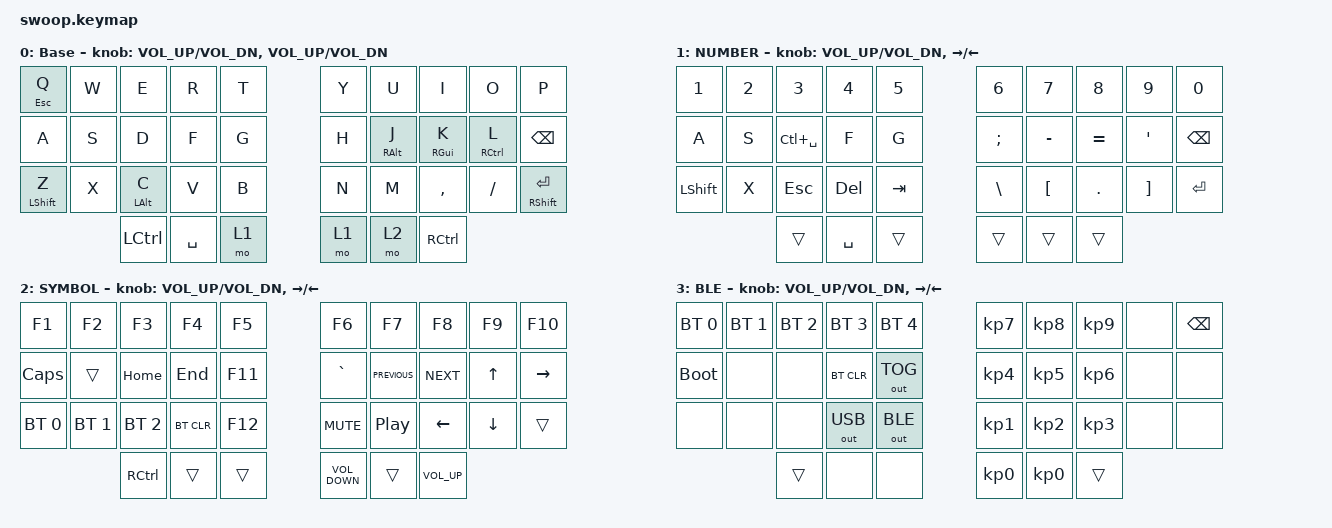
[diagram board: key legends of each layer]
/*
 * Copyright (c) 2020 duckyb
 *
 * SPDX-License-Identifier: MIT
 */

#include <behaviors.dtsi>
#include <dt-bindings/zmk/bt.h>
#include <dt-bindings/zmk/keys.h>
#include <dt-bindings/zmk/outputs.h>

/ {
    behaviors {
        tab_esc_ctrl: tab_esc_ctrl {
            compatible = "zmk,behavior-tap-dance";
            label = "TAB_ESC_CTRL";
            #binding-cells = <0>;
            bindings =
                <&mt LCTRL ESC>,
                <&kp TAB>;
        };
        gqt: global-quick-tap {
            compatible = "zmk,behavior-hold-tap";
            label = "GLOBAL_QUICK_TAP";
            bindings =
                <&kp>,
                <&kp>;

            #binding-cells = <2>;
            quick-tap-ms = <180>;
            tapping-term-ms = <200>;
            global-quick-tap;
            flavor = "tap-preferred";
        };
        ltq: ltq {
            compatible = "zmk,behavior-hold-tap";
            label = "LTQ";
            bindings =
                <&mo>,
                <&kp>;

            #binding-cells = <2>;
            global-quick-tap;
            tapping-term-ms = <200>;
            quick-tap-ms = <180>;
        };
        ht: ht {
            compatible = "zmk,behavior-hold-tap";
            label = "HT";
            bindings =
                <&kp>,
                <&kp>;

            #binding-cells = <2>;
            tapping-term-ms = <200>;
            quick-tap-ms = <100>;
            global-quick-tap;
            flavor = "tap-preferred";
        };
    };

    combos {
        compatible = "zmk,combos";

        left_bkt {
            bindings = <&kp LBKT>;
            key-positions = <3 2>;
            timeout-ms = <50>;
        };

        right_bkt {
            bindings = <&kp RBKT>;
            key-positions = <6 7>;
            timeout-ms = <50>;
        };

        left_par {
            bindings = <&kp LEFT_PARENTHESIS>;
            key-positions = <12 13>;
            timeout-ms = <50>;
        };

        right_par {
            bindings = <&kp RIGHT_PARENTHESIS>;
            key-positions = <16 17>;
            timeout-ms = <50>;
        };

        left_brace {
            bindings = <&kp LEFT_BRACE>;
            key-positions = <23 22>;
            timeout-ms = <50>;
        };

        right_brace {
            bindings = <&kp RIGHT_BRACE>;
            key-positions = <26 27>;
            timeout-ms = <50>;
        };

        bac {
            bindings = <&kp BACKSLASH>;
            key-positions = <4 5>;
        };

        pipe {
            bindings = <&kp PIPE>;
            key-positions = <14 15>;
        };

        shift_minus {
            bindings = <&kp UNDERSCORE>;
            key-positions = <15 17>;
        };

        less_than {
            bindings = <&kp LESS_THAN>;
            key-positions = <25 27>;
        };

        greater_than {
            bindings = <&kp GREATER_THAN>;
            key-positions = <25 28>;
        };

        tab {
            bindings = <&kp TAB>;
            key-positions = <12 10 11>;
        };

        plus {
            bindings = <&kp PLUS>;
            key-positions = <15 18>;
        };

        tilde {
            bindings = <&kp TILDE>;
            key-positions = <5 6>;
        };

        grave {
            bindings = <&kp GRAVE>;
            key-positions = <3 4>;
        };

        colon {
            bindings = <&kp COLON>;
            key-positions = <6 7 8>;
        };

        semi {
            bindings = <&kp SEMICOLON>;
            key-positions = <16 17 18>;
        };

        qort {
            bindings = <&kp SQT>;
            key-positions = <17 18>;
        };

        d_qourt {
            bindings = <&kp DOUBLE_QUOTES>;
            key-positions = <26 17 18>;
        };
    };

    macros {
    };

    keymap {
        compatible = "zmk,keymap";

        base {
            label = "Base";
            bindings = <
&ht ESC Q    &kp W  &kp E             &kp R      &kp T    &kp Y  &kp U            &kp I              &kp O        &kp P
&kp A        &kp S  &kp D             &kp F      &kp G    &kp H  &ht RIGHT_ALT J  &ht RIGHT_GUI K    &ht RCTRL L  &kp BSPC
&ht LSHFT Z  &kp X  &ht LEFT_ALT C    &kp V      &kp B    &kp N  &kp M            &kp COMMA          &kp SLASH    &ht RSHFT ENTER
                    &kp LEFT_CONTROL  &kp SPACE  &mo 1    &mo 1  &mo 2            &kp RIGHT_CONTROL
            >;

            sensor-bindings =
                <&inc_dec_kp C_VOL_UP C_VOL_DN>,
                <&inc_dec_kp C_VOLUME_UP C_VOL_DN>;
        };

        number {
            label = "NUMBER";
            bindings = <
&kp N1     &kp N2  &kp N3         &kp N4     &kp N5     &kp N6         &kp N7            &kp N8     &kp N9             &kp N0
&kp A      &kp S   &kp LC(SPACE)  &kp F      &kp G      &kp SEMICOLON  &kp MINUS         &kp EQUAL  &kp SQT            &kp BSPC
&kp LSHFT  &kp X   &kp ESC        &kp DEL    &kp TAB    &kp BACKSLASH  &kp LEFT_BRACKET  &kp DOT    &kp RIGHT_BRACKET  &kp ENTER
                   &trans         &kp SPACE  &trans     &trans         &trans            &trans
            >;

            sensor-bindings = <&inc_dec_kp C_VOL_UP C_VOL_DN &inc_dec_kp RIGHT LEFT>;
        };

        symbol {
            label = "SYMBOL";
            bindings = <
&kp F1        &kp F2        &kp F3             &kp F4      &kp F5     &kp F6             &kp F7            &kp F8           &kp F9        &kp F10
&kp CAPS      &trans        &kp HOME           &kp END     &kp F11    &kp GRAVE          &kp C_PREVIOUS    &kp C_NEXT       &kp UP_ARROW  &kp RIGHT
&bt BT_SEL 0  &bt BT_SEL 1  &bt BT_SEL 2       &bt BT_CLR  &kp F12    &kp C_MUTE         &kp C_PLAY_PAUSE  &kp LEFT         &kp DOWN      &trans
                            &kp RIGHT_CONTROL  &trans      &trans     &kp C_VOLUME_DOWN  &trans            &kp C_VOLUME_UP
            >;

            sensor-bindings = <&inc_dec_kp C_VOL_UP C_VOL_DN &inc_dec_kp RIGHT LEFT>;
        };

        ble {
            label = "BLE";
            bindings = <
&bt BT_SEL 0  &bt BT_SEL 1  &bt BT_SEL 2  &bt BT_SEL 3  &bt BT_SEL 4    &kp KP_N7  &kp KP_N8  &kp KP_N9  &none  &kp BSPC
&bootloader   &none         &none         &bt BT_CLR    &out OUT_TOG    &kp KP_N4  &kp KP_N5  &kp KP_N6  &none  &none
&none         &none         &none         &out OUT_USB  &out OUT_BLE    &kp KP_N1  &kp KP_N2  &kp KP_N3  &none  &none
                            &trans        &none         &none           &kp KP_N0  &kp KP_N0  &trans
            >;

            sensor-bindings = <&inc_dec_kp C_VOL_UP C_VOL_DN &inc_dec_kp RIGHT LEFT>;
        };
    };
};
